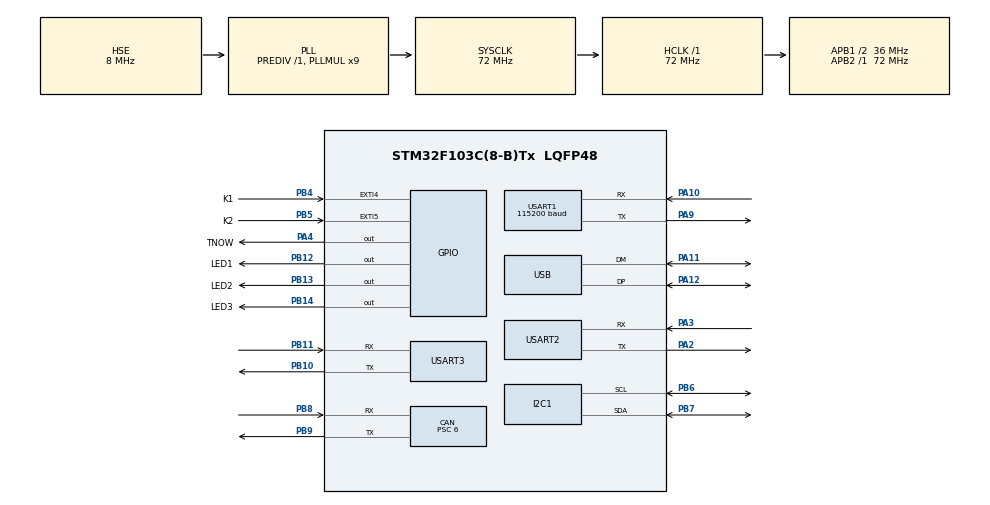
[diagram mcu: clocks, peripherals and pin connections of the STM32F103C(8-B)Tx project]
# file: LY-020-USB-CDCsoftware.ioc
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CAN.BS1=CAN_BS1_8TQ
CAN.BS2=CAN_BS2_3TQ
CAN.CalculateBaudRate=499999
CAN.CalculateTimeBit=2000
CAN.CalculateTimeQuantum=166.66666666666669
CAN.Prescaler=6
Dma.Request0=USART1_RX
Dma.Request1=USART1_TX
Dma.USART1_RX.0.Direction=DMA_PERIPH_TO_MEMORY
Dma.USART1_RX.0.Instance=DMA1_Channel5
Dma.USART1_RX.0.MemDataAlignment=DMA_MDATAALIGN_BYTE
Dma.USART1_RX.0.MemInc=DMA_MINC_ENABLE
Dma.USART1_RX.0.Mode=DMA_CIRCULAR
Dma.USART1_RX.0.PeriphDataAlignment=DMA_PDATAALIGN_BYTE
Dma.USART1_RX.0.PeriphInc=DMA_PINC_DISABLE
Dma.USART1_RX.0.Priority=DMA_PRIORITY_VERY_HIGH
Dma.USART1_TX.1.Direction=DMA_MEMORY_TO_PERIPH
Dma.USART1_TX.1.Instance=DMA1_Channel4
Dma.USART1_TX.1.MemDataAlignment=DMA_MDATAALIGN_BYTE
Dma.USART1_TX.1.MemInc=DMA_MINC_ENABLE
Dma.USART1_TX.1.Mode=DMA_NORMAL
Dma.USART1_TX.1.PeriphDataAlignment=DMA_PDATAALIGN_BYTE
Dma.USART1_TX.1.PeriphInc=DMA_PINC_DISABLE
Dma.USART1_TX.1.Priority=DMA_PRIORITY_VERY_HIGH
FREERTOS.Tasks01=defaultTask,24,128,StartDefaultTask,Default,NULL,Dynamic,NULL,NULL
Mcu.Family=STM32F1
Mcu.Name=STM32F103C(8-B)Tx
Mcu.Package=LQFP48
NVIC.CAN1_RX1_IRQn=true\:5\:0\:false\:false\:true\:true\:true\:true\:true
NVIC.CAN1_SCE_IRQn=true\:5\:0\:false\:false\:true\:true\:true\:true\:true
NVIC.DMA1_Channel4_IRQn=true\:5\:0\:false\:false\:true\:true\:false\:true\:true
NVIC.DMA1_Channel5_IRQn=true\:5\:0\:false\:false\:true\:true\:false\:true\:true
NVIC.EXTI4_IRQn=true\:5\:0\:false\:false\:true\:true\:true\:true\:true
NVIC.EXTI9_5_IRQn=true\:5\:0\:false\:false\:true\:true\:true\:true\:true
NVIC.PriorityGroup=NVIC_PRIORITYGROUP_4
NVIC.RCC_IRQn=true\:5\:0\:false\:false\:true\:true\:true\:false\:true
NVIC.USART1_IRQn=true\:5\:0\:false\:false\:true\:true\:true\:true\:true
NVIC.USB_HP_CAN1_TX_IRQn=true\:5\:0\:false\:false\:true\:true\:true\:true\:true
NVIC.USB_LP_CAN1_RX0_IRQn=true\:5\:0\:false\:false\:true\:true\:false\:true\:true
PA10.Mode=Asynchronous
PA10.Signal=USART1_RX
PA11.Mode=Device
PA11.Signal=USB_DM
PA12.Mode=Device
PA12.Signal=USB_DP
PA13.Mode=Serial_Wire
PA13.Signal=SYS_JTMS-SWDIO
PA14.Mode=Serial_Wire
PA14.Signal=SYS_JTCK-SWCLK
PA2.Mode=Asynchronous
PA2.Signal=USART2_TX
PA3.Mode=Asynchronous
PA3.Signal=USART2_RX
PA4.GPIO_Label=TNOW
PA4.GPIO_Speed=GPIO_SPEED_FREQ_MEDIUM
PA4.Signal=GPIO_Output
PA9.Mode=Asynchronous
PA9.Signal=USART1_TX
PB10.Mode=Asynchronous
PB10.Signal=USART3_TX
PB11.Mode=Asynchronous
PB11.Signal=USART3_RX
PB12.GPIO_Label=LED1
PB12.Signal=GPIO_Output
PB13.GPIO_Label=LED2
PB13.Signal=GPIO_Output
PB14.GPIO_Label=LED3
PB14.Signal=GPIO_Output
PB4.GPIO_Label=K1
PB4.GPIO_ModeDefaultEXTI=GPIO_MODE_IT_FALLING
PB4.Signal=GPXTI4
PB5.GPIO_Label=K2
PB5.GPIO_ModeDefaultEXTI=GPIO_MODE_IT_FALLING
PB5.Signal=GPXTI5
PB6.Mode=I2C
PB6.Signal=I2C1_SCL
PB7.Mode=I2C
PB7.Signal=I2C1_SDA
PB8.Mode=CAN_Activate
PB8.Signal=CAN_RX
PB9.Mode=CAN_Activate
PB9.Signal=CAN_TX
PC14-OSC32_IN.Mode=LSE-External-Oscillator
PC14-OSC32_IN.Signal=RCC_OSC32_IN
PC15-OSC32_OUT.Mode=LSE-External-Oscillator
PC15-OSC32_OUT.Signal=RCC_OSC32_OUT
PD0-OSC_IN.Mode=HSE-External-Oscillator
PD0-OSC_IN.Signal=RCC_OSC_IN
PD1-OSC_OUT.Mode=HSE-External-Oscillator
PD1-OSC_OUT.Signal=RCC_OSC_OUT
ProjectManager.HeapSize=0x400
ProjectManager.StackSize=0x800
ProjectManager.TargetToolchain=MDK-ARM V5.32
RCC.AHBFreq_Value=72000000
RCC.APB1CLKDivider=RCC_HCLK_DIV2
RCC.APB1Freq_Value=36000000
RCC.APB1TimFreq_Value=72000000
RCC.APB2Freq_Value=72000000
RCC.APB2TimFreq_Value=72000000
RCC.HCLKFreq_Value=72000000
RCC.PLLMUL=RCC_PLL_MUL9
RCC.PLLSourceVirtual=RCC_PLLSOURCE_HSE
RCC.SYSCLKFreq_VALUE=72000000
RCC.SYSCLKSource=RCC_SYSCLKSOURCE_PLLCLK
RCC.USBFreq_Value=48000000
RCC.USBPrescaler=RCC_USBCLKSOURCE_PLL_DIV1_5
TIM1.AutoReloadPreload=TIM_AUTORELOAD_PRELOAD_ENABLE
TIM1.ClockDivision=TIM_CLOCKDIVISION_DIV1
TIM1.Period=1000-1
TIM1.Prescaler=72-1
TIM2.AutoReloadPreload=TIM_AUTORELOAD_PRELOAD_ENABLE
TIM2.Period=1000-1
TIM2.Prescaler=72-1
TIM3.AutoReloadPreload=TIM_AUTORELOAD_PRELOAD_ENABLE
TIM3.Period=1000-1
TIM3.Prescaler=72-1
TIM4.AutoReloadPreload=TIM_AUTORELOAD_PRELOAD_ENABLE
TIM4.Period=1000-1
TIM4.Prescaler=72-1
USART1.BaudRate=115200
USART1.VirtualMode=VM_ASYNC
USART2.VirtualMode=VM_ASYNC
USART3.VirtualMode=VM_ASYNC
USB_DEVICE.CLASS_NAME_FS=CDC
USB_DEVICE.USBD_SELF_POWERED=0
USB_DEVICE.VirtualMode=Cdc
USB_DEVICE.VirtualModeFS=Cdc_FS
VP_FREERTOS_VS_CMSIS_V2.Mode=CMSIS_V2
VP_TIM1_VS_ClockSourceINT.Mode=Internal
VP_TIM2_VS_ClockSourceINT.Mode=Internal
VP_TIM3_VS_ClockSourceINT.Mode=Internal
VP_TIM4_VS_ClockSourceINT.Mode=Internal
VP_USB_DEVICE_VS_USB_DEVICE_CDC_FS.Mode=CDC_FS
board=custom

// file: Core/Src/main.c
/* USER CODE BEGIN Header */
/**
  ******************************************************************************
  * @file           : main.c
  * @brief          : Main program body
  ******************************************************************************
  * @attention
  *
  * Copyright (c) 2025 STMicroelectronics.
  * All rights reserved.
  *
  * This software is licensed under terms that can be found in the LICENSE file
  * in the root directory of this software component.
  * If no LICENSE file comes with this software, it is provided AS-IS.
  *
  ******************************************************************************
  */
/* USER CODE END Header */
#include "main.h"
#include "cmsis_os.h"

/* USER CODE BEGIN Includes */
#include "stdio.h"

#include "OLED_IIC_Config.h"
#include "OLED_Function.h"
#include "OLED_Front.h"
#include "pc_serial.h"
#include "testTask.h"
#include "ZLA_Motor.h"
/* USER CODE END Includes */

CAN_HandleTypeDef hcan;

I2C_HandleTypeDef hi2c1;

TIM_HandleTypeDef htim1;
TIM_HandleTypeDef htim2;
TIM_HandleTypeDef htim3;
TIM_HandleTypeDef htim4;

UART_HandleTypeDef huart1;
UART_HandleTypeDef huart2;
UART_HandleTypeDef huart3;
DMA_HandleTypeDef hdma_usart1_rx;
DMA_HandleTypeDef hdma_usart1_tx;

/* Definitions for defaultTask */
osThreadId_t testTaskHandle;
const osThreadAttr_t testTask_attributes = {
  .name = "testTask",
  .stack_size = 512 * 4,
  .priority = (osPriority_t) osPriorityNormal,
};
/* USER CODE BEGIN PV */

CAN_TxHeaderTypeDef TxHeaderCAN;
CAN_RxHeaderTypeDef RxHeaderCAN;
uint8_t RxDataCAN[8];
uint8_t TxDataCAN[8];

uint8_t CAN_Rx_Flag=0;

// UART1 接收缓冲区
#define U1_RX_MAX_LEN 256
uint8_t u1_rx_buffer[U1_RX_MAX_LEN];

/* USER CODE END PV */

void SystemClock_Config(void);
static void MX_GPIO_Init(void);
static void MX_DMA_Init(void);
static void MX_USART1_UART_Init(void);
static void MX_I2C1_Init(void);
static void MX_USART2_UART_Init(void);
static void MX_USART3_UART_Init(void);
static void MX_CAN_Init(void);
static void MX_TIM1_Init(void);
static void MX_TIM2_Init(void);
static void MX_TIM3_Init(void);
static void MX_TIM4_Init(void);
void StartDefaultTask(void *argument);

/* USER CODE BEGIN PFP */
void can_filter_init(void);
void CAN_Test(void);
/* USER CODE END PFP */

/* USER CODE BEGIN 0 */

#ifdef __GNUC__
  #define PUTCHAR_PROTOTYPE int __io_putchar(int ch)
#else
  #define PUTCHAR_PROTOTYPE int fputc(int ch, FILE *f)
#endif

PUTCHAR_PROTOTYPE
{
  HAL_UART_Transmit(&huart1,(uint8_t *)&ch,1,0xFFFF); //������ʽ��ӡ,����1
  return ch;
}

/* USER CODE END 0 */

int main(void)
{

  /* MCU Configuration--------------------------------------------------------*/

  /* Reset of all peripherals, Initializes the Flash interface and the Systick. */
  HAL_Init();

  /* Configure the system clock */
  SystemClock_Config();

  /* Initialize all configured peripherals */
  MX_GPIO_Init();
  MX_DMA_Init();
  MX_USART1_UART_Init();
  MX_I2C1_Init();
  MX_USART2_UART_Init();
  MX_USART3_UART_Init();
  MX_CAN_Init();
  MX_TIM1_Init();
  MX_TIM2_Init();
  MX_TIM3_Init();
  MX_TIM4_Init();
  /* USER CODE BEGIN 2 */
  can_filter_init();
  PC_Init();
  // 开启 UART1 DMA 接收 + 空闲中断
  HAL_UARTEx_ReceiveToIdle_DMA(&huart1, u1_rx_buffer, U1_RX_MAX_LEN);
  __HAL_DMA_DISABLE_IT(&hdma_usart1_rx, DMA_IT_HT); // 禁用半传输中断，防止频繁进入
  /* USER CODE END 2 */

  /* Init scheduler */
  osKernelInitialize();

  /* Create the thread(s) */
  /* creation of defaultTask */
  /* USER CODE BEGIN RTOS_THREADS */
  /* add threads, ... */
  testTaskHandle = osThreadNew((osThreadFunc_t)test_task, NULL, &testTask_attributes);
  /* USER CODE END RTOS_THREADS */

  /* Start scheduler */
  osKernelStart();

  /* We should never get here as control is now taken by the scheduler */

  /* Infinite loop */
  while (1)
  {

  }
}

void SystemClock_Config(void)
{
  RCC_OscInitTypeDef RCC_OscInitStruct = {0};
  RCC_ClkInitTypeDef RCC_ClkInitStruct = {0};
  RCC_PeriphCLKInitTypeDef PeriphClkInit = {0};

  /** Initializes the RCC Oscillators according to the specified parameters
  * in the RCC_OscInitTypeDef structure.
  */
  RCC_OscInitStruct.OscillatorType = RCC_OSCILLATORTYPE_HSE;
  RCC_OscInitStruct.HSEState = RCC_HSE_ON;
  RCC_OscInitStruct.HSEPredivValue = RCC_HSE_PREDIV_DIV1;
  RCC_OscInitStruct.HSIState = RCC_HSI_ON;
  RCC_OscInitStruct.PLL.PLLState = RCC_PLL_ON;
  RCC_OscInitStruct.PLL.PLLSource = RCC_PLLSOURCE_HSE;
  RCC_OscInitStruct.PLL.PLLMUL = RCC_PLL_MUL9;
  if (HAL_RCC_OscConfig(&RCC_OscInitStruct) != HAL_OK)
  {
    Error_Handler();
  }

  /** Initializes the CPU, AHB and APB buses clocks
  */
  RCC_ClkInitStruct.ClockType = RCC_CLOCKTYPE_HCLK|RCC_CLOCKTYPE_SYSCLK
                              |RCC_CLOCKTYPE_PCLK1|RCC_CLOCKTYPE_PCLK2;
  RCC_ClkInitStruct.SYSCLKSource = RCC_SYSCLKSOURCE_PLLCLK;
  RCC_ClkInitStruct.AHBCLKDivider = RCC_SYSCLK_DIV1;
  RCC_ClkInitStruct.APB1CLKDivider = RCC_HCLK_DIV2;
  RCC_ClkInitStruct.APB2CLKDivider = RCC_HCLK_DIV1;

  if (HAL_RCC_ClockConfig(&RCC_ClkInitStruct, FLASH_LATENCY_2) != HAL_OK)
  {
    Error_Handler();
  }
  PeriphClkInit.PeriphClockSelection = RCC_PERIPHCLK_USB;
  PeriphClkInit.UsbClockSelection = RCC_USBCLKSOURCE_PLL_DIV1_5;
  if (HAL_RCCEx_PeriphCLKConfig(&PeriphClkInit) != HAL_OK)
  {
    Error_Handler();
  }
}

static void MX_CAN_Init(void)
{

  hcan.Instance = CAN1;
  hcan.Init.Prescaler = 6;
  hcan.Init.Mode = CAN_MODE_NORMAL;
  hcan.Init.SyncJumpWidth = CAN_SJW_1TQ;
  hcan.Init.TimeSeg1 = CAN_BS1_8TQ;
  hcan.Init.TimeSeg2 = CAN_BS2_3TQ;
  hcan.Init.TimeTriggeredMode = DISABLE;
  hcan.Init.AutoBusOff = DISABLE;
  hcan.Init.AutoWakeUp = DISABLE;
  hcan.Init.AutoRetransmission = DISABLE;
  hcan.Init.ReceiveFifoLocked = DISABLE;
  hcan.Init.TransmitFifoPriority = DISABLE;
  if (HAL_CAN_Init(&hcan) != HAL_OK)
  {
    Error_Handler();
  }

}

static void MX_I2C1_Init(void)
{

  hi2c1.Instance = I2C1;
  hi2c1.Init.ClockSpeed = 100000;
  hi2c1.Init.DutyCycle = I2C_DUTYCYCLE_2;
  hi2c1.Init.OwnAddress1 = 0;
  hi2c1.Init.AddressingMode = I2C_ADDRESSINGMODE_7BIT;
  hi2c1.Init.DualAddressMode = I2C_DUALADDRESS_DISABLE;
  hi2c1.Init.OwnAddress2 = 0;
  hi2c1.Init.GeneralCallMode = I2C_GENERALCALL_DISABLE;
  hi2c1.Init.NoStretchMode = I2C_NOSTRETCH_DISABLE;
  if (HAL_I2C_Init(&hi2c1) != HAL_OK)
  {
    Error_Handler();
  }

}

static void MX_TIM1_Init(void)
{

  TIM_ClockConfigTypeDef sClockSourceConfig = {0};
  TIM_MasterConfigTypeDef sMasterConfig = {0};

  htim1.Instance = TIM1;
  htim1.Init.Prescaler = 72-1;
  htim1.Init.CounterMode = TIM_COUNTERMODE_UP;
  htim1.Init.Period = 1000-1;
  htim1.Init.ClockDivision = TIM_CLOCKDIVISION_DIV1;
  htim1.Init.RepetitionCounter = 0;
  htim1.Init.AutoReloadPreload = TIM_AUTORELOAD_PRELOAD_ENABLE;
  if (HAL_TIM_Base_Init(&htim1) != HAL_OK)
  {
    Error_Handler();
  }
  sClockSourceConfig.ClockSource = TIM_CLOCKSOURCE_INTERNAL;
  if (HAL_TIM_ConfigClockSource(&htim1, &sClockSourceConfig) != HAL_OK)
  {
    Error_Handler();
  }
  sMasterConfig.MasterOutputTrigger = TIM_TRGO_RESET;
  sMasterConfig.MasterSlaveMode = TIM_MASTERSLAVEMODE_DISABLE;
  if (HAL_TIMEx_MasterConfigSynchronization(&htim1, &sMasterConfig) != HAL_OK)
  {
    Error_Handler();
  }

}

static void MX_TIM2_Init(void)
{

  TIM_ClockConfigTypeDef sClockSourceConfig = {0};
  TIM_MasterConfigTypeDef sMasterConfig = {0};

  htim2.Instance = TIM2;
  htim2.Init.Prescaler = 72-1;
  htim2.Init.CounterMode = TIM_COUNTERMODE_UP;
  htim2.Init.Period = 1000-1;
  htim2.Init.ClockDivision = TIM_CLOCKDIVISION_DIV1;
  htim2.Init.AutoReloadPreload = TIM_AUTORELOAD_PRELOAD_ENABLE;
  if (HAL_TIM_Base_Init(&htim2) != HAL_OK)
  {
    Error_Handler();
  }
  sClockSourceConfig.ClockSource = TIM_CLOCKSOURCE_INTERNAL;
  if (HAL_TIM_ConfigClockSource(&htim2, &sClockSourceConfig) != HAL_OK)
  {
    Error_Handler();
  }
  sMasterConfig.MasterOutputTrigger = TIM_TRGO_RESET;
  sMasterConfig.MasterSlaveMode = TIM_MASTERSLAVEMODE_DISABLE;
  if (HAL_TIMEx_MasterConfigSynchronization(&htim2, &sMasterConfig) != HAL_OK)
  {
    Error_Handler();
  }

}

static void MX_TIM3_Init(void)
{

  TIM_ClockConfigTypeDef sClockSourceConfig = {0};
  TIM_MasterConfigTypeDef sMasterConfig = {0};

  htim3.Instance = TIM3;
  htim3.Init.Prescaler = 72-1;
  htim3.Init.CounterMode = TIM_COUNTERMODE_UP;
  htim3.Init.Period = 1000-1;
  htim3.Init.ClockDivision = TIM_CLOCKDIVISION_DIV1;
  htim3.Init.AutoReloadPreload = TIM_AUTORELOAD_PRELOAD_ENABLE;
  if (HAL_TIM_Base_Init(&htim3) != HAL_OK)
  {
    Error_Handler();
  }
  sClockSourceConfig.ClockSource = TIM_CLOCKSOURCE_INTERNAL;
  if (HAL_TIM_ConfigClockSource(&htim3, &sClockSourceConfig) != HAL_OK)
  {
    Error_Handler();
  }
  sMasterConfig.MasterOutputTrigger = TIM_TRGO_RESET;
  sMasterConfig.MasterSlaveMode = TIM_MASTERSLAVEMODE_DISABLE;
  if (HAL_TIMEx_MasterConfigSynchronization(&htim3, &sMasterConfig) != HAL_OK)
  {
    Error_Handler();
  }

}

static void MX_TIM4_Init(void)
{

  TIM_ClockConfigTypeDef sClockSourceConfig = {0};
  TIM_MasterConfigTypeDef sMasterConfig = {0};

  htim4.Instance = TIM4;
  htim4.Init.Prescaler = 72-1;
  htim4.Init.CounterMode = TIM_COUNTERMODE_UP;
  htim4.Init.Period = 1000-1;
  htim4.Init.ClockDivision = TIM_CLOCKDIVISION_DIV1;
  htim4.Init.AutoReloadPreload = TIM_AUTORELOAD_PRELOAD_ENABLE;
  if (HAL_TIM_Base_Init(&htim4) != HAL_OK)
  {
    Error_Handler();
  }
  sClockSourceConfig.ClockSource = TIM_CLOCKSOURCE_INTERNAL;
  if (HAL_TIM_ConfigClockSource(&htim4, &sClockSourceConfig) != HAL_OK)
  {
    Error_Handler();
  }
  sMasterConfig.MasterOutputTrigger = TIM_TRGO_RESET;
  sMasterConfig.MasterSlaveMode = TIM_MASTERSLAVEMODE_DISABLE;
  if (HAL_TIMEx_MasterConfigSynchronization(&htim4, &sMasterConfig) != HAL_OK)
  {
    Error_Handler();
  }

}

static void MX_USART1_UART_Init(void)
{

  huart1.Instance = USART1;
  huart1.Init.BaudRate = 115200;
  huart1.Init.WordLength = UART_WORDLENGTH_8B;
  huart1.Init.StopBits = UART_STOPBITS_1;
  huart1.Init.Parity = UART_PARITY_NONE;
  huart1.Init.Mode = UART_MODE_TX_RX;
  huart1.Init.HwFlowCtl = UART_HWCONTROL_NONE;
  huart1.Init.OverSampling = UART_OVERSAMPLING_16;
  if (HAL_UART_Init(&huart1) != HAL_OK)
  {
    Error_Handler();
  }

}

static void MX_USART2_UART_Init(void)
{

  huart2.Instance = USART2;
  huart2.Init.BaudRate = 115200;
  huart2.Init.WordLength = UART_WORDLENGTH_8B;
  huart2.Init.StopBits = UART_STOPBITS_1;
  huart2.Init.Parity = UART_PARITY_NONE;
  huart2.Init.Mode = UART_MODE_TX_RX;
  huart2.Init.HwFlowCtl = UART_HWCONTROL_NONE;
  huart2.Init.OverSampling = UART_OVERSAMPLING_16;
  if (HAL_UART_Init(&huart2) != HAL_OK)
  {
    Error_Handler();
  }

}

static void MX_USART3_UART_Init(void)
{

  huart3.Instance = USART3;
  huart3.Init.BaudRate = 115200;
  huart3.Init.WordLength = UART_WORDLENGTH_8B;
  huart3.Init.StopBits = UART_STOPBITS_1;
  huart3.Init.Parity = UART_PARITY_NONE;
  huart3.Init.Mode = UART_MODE_TX_RX;
  huart3.Init.HwFlowCtl = UART_HWCONTROL_NONE;
  huart3.Init.OverSampling = UART_OVERSAMPLING_16;
  if (HAL_UART_Init(&huart3) != HAL_OK)
  {
    Error_Handler();
  }

}

static void MX_DMA_Init(void)
{

  /* DMA controller clock enable */
  __HAL_RCC_DMA1_CLK_ENABLE();

  /* DMA interrupt init */
  /* DMA1_Channel4_IRQn interrupt configuration */
  HAL_NVIC_SetPriority(DMA1_Channel4_IRQn, 5, 0);
  HAL_NVIC_EnableIRQ(DMA1_Channel4_IRQn);
  /* DMA1_Channel5_IRQn interrupt configuration */
  HAL_NVIC_SetPriority(DMA1_Channel5_IRQn, 5, 0);
  HAL_NVIC_EnableIRQ(DMA1_Channel5_IRQn);

}

static void MX_GPIO_Init(void)
{
  GPIO_InitTypeDef GPIO_InitStruct = {0};

  /* GPIO Ports Clock Enable */
  __HAL_RCC_GPIOC_CLK_ENABLE();
  __HAL_RCC_GPIOD_CLK_ENABLE();
  __HAL_RCC_GPIOA_CLK_ENABLE();
  __HAL_RCC_GPIOB_CLK_ENABLE();

  /*Configure GPIO pin Output Level */
  HAL_GPIO_WritePin(TNOW_GPIO_Port, TNOW_Pin, GPIO_PIN_RESET);

  /*Configure GPIO pin Output Level */
  HAL_GPIO_WritePin(GPIOB, LED1_Pin|LED2_Pin|LED3_Pin, GPIO_PIN_RESET);

  /*Configure GPIO pin : TNOW_Pin */
  GPIO_InitStruct.Pin = TNOW_Pin;
  GPIO_InitStruct.Mode = GPIO_MODE_OUTPUT_PP;
  GPIO_InitStruct.Pull = GPIO_NOPULL;
  GPIO_InitStruct.Speed = GPIO_SPEED_FREQ_MEDIUM;
  HAL_GPIO_Init(TNOW_GPIO_Port, &GPIO_InitStruct);

  /*Configure GPIO pins : LED1_Pin LED2_Pin LED3_Pin */
  GPIO_InitStruct.Pin = LED1_Pin|LED2_Pin|LED3_Pin;
  GPIO_InitStruct.Mode = GPIO_MODE_OUTPUT_PP;
  GPIO_InitStruct.Pull = GPIO_NOPULL;
  GPIO_InitStruct.Speed = GPIO_SPEED_FREQ_LOW;
  HAL_GPIO_Init(GPIOB, &GPIO_InitStruct);

  /*Configure GPIO pins : K1_Pin K2_Pin */
  GPIO_InitStruct.Pin = K1_Pin|K2_Pin;
  GPIO_InitStruct.Mode = GPIO_MODE_IT_FALLING;
  GPIO_InitStruct.Pull = GPIO_NOPULL;
  HAL_GPIO_Init(GPIOB, &GPIO_InitStruct);

  /* EXTI interrupt init*/
  HAL_NVIC_SetPriority(EXTI4_IRQn, 5, 0);
  HAL_NVIC_EnableIRQ(EXTI4_IRQn);

  HAL_NVIC_SetPriority(EXTI9_5_IRQn, 5, 0);
  HAL_NVIC_EnableIRQ(EXTI9_5_IRQn);

}

/* USER CODE BEGIN 4 */

void can_filter_init(void)
{
    CAN_FilterTypeDef can_filter_st;

    // ---------------------------------------------------------
    // FIFO 0 配置: 针对 ID 0x581, 0x701, 0x181, 0x182 (如需)
    // ---------------------------------------------------------
    can_filter_st.FilterBank = 0;
    can_filter_st.FilterActivation = ENABLE;
    can_filter_st.FilterMode = CAN_FILTERMODE_IDLIST;
    can_filter_st.FilterScale = CAN_FILTERSCALE_16BIT;

    // 手册要求：标准帧ID需要左移5位对齐到高11位
    can_filter_st.FilterIdHigh = 0x581 << 5;
    can_filter_st.FilterIdLow  = 0x701 << 5;
    can_filter_st.FilterMaskIdHigh = 0x181 << 5;
    can_filter_st.FilterMaskIdLow  = 0x182 << 5;

    can_filter_st.FilterFIFOAssignment = CAN_RX_FIFO0;
    can_filter_st.SlaveStartFilterBank = 14;
    HAL_CAN_ConfigFilter(&hcan, &can_filter_st);

    // ---------------------------------------------------------
    // FIFO 1 配置: 针对 ID 0x582, 0x702
    // ---------------------------------------------------------
    can_filter_st.FilterBank = 1; // 使用 Bank 1
    can_filter_st.FilterActivation = ENABLE;
    can_filter_st.FilterMode = CAN_FILTERMODE_IDLIST;
    can_filter_st.FilterScale = CAN_FILTERSCALE_16BIT;

    can_filter_st.FilterIdHigh = 0x582 << 5;
    can_filter_st.FilterIdLow  = 0x702 << 5;
    can_filter_st.FilterMaskIdHigh = 0x0000;
    can_filter_st.FilterMaskIdLow  = 0x0000;

    can_filter_st.FilterFIFOAssignment = CAN_RX_FIFO1; // 关键：指向 FIFO1
    can_filter_st.SlaveStartFilterBank = 14;
    HAL_CAN_ConfigFilter(&hcan, &can_filter_st);

    // ---------------------------------------------------------
    // 启动与中断使能
    // ---------------------------------------------------------
    HAL_CAN_Start(&hcan);

    HAL_CAN_ActivateNotification(&hcan, CAN_IT_RX_FIFO0_MSG_PENDING);
    HAL_CAN_ActivateNotification(&hcan, CAN_IT_RX_FIFO1_MSG_PENDING);
}

void HAL_CAN_RxFifo0MsgPendingCallback(CAN_HandleTypeDef *hcan_instance)
{
    CAN_RxHeaderTypeDef rx_header;
    uint8_t rx_data[8];

    // 获取消息
    HAL_CAN_GetRxMessage(hcan_instance, CAN_RX_FIFO0, &rx_header, rx_data);

    // 只有一个 CAN，直接处理
    if (hcan_instance->Instance == CAN1)
    {
        extern ZLA_Motor front_drive; // 引用 test_task.c 中的定义
        extern ZLA_Motor rear_drive;
        ZLA_Motor_ProcessRx(&rx_header, rx_data, &front_drive);
        ZLA_Motor_ProcessRx(&rx_header, rx_data, &rear_drive);
    }
}

void HAL_CAN_RxFifo1MsgPendingCallback(CAN_HandleTypeDef *hcan_instance)
{
    CAN_RxHeaderTypeDef rx_header;
    uint8_t rx_data[8];

    HAL_CAN_GetRxMessage(hcan_instance, CAN_RX_FIFO1, &rx_header, rx_data);

    if (hcan_instance->Instance == CAN1)
    {
        extern ZLA_Motor front_drive;
        extern ZLA_Motor rear_drive;
        ZLA_Motor_ProcessRx(&rx_header, rx_data, &front_drive);
        ZLA_Motor_ProcessRx(&rx_header, rx_data, &rear_drive);
		}
}

void HAL_GPIO_EXTI_Callback(uint16_t GPIO_Pin)
{
    if (GPIO_Pin == K1_Pin)
    {
        if (HAL_GPIO_ReadPin(K1_GPIO_Port, K1_Pin) == GPIO_PIN_RESET)
        {
        	HAL_GPIO_TogglePin(LED3_GPIO_Port, LED3_Pin);
            //printf("KEY1 trigger \r\n");
        	HAL_UART_Transmit(&huart1,"KEY1 trigger \r\n",strlen("KEY1 trigger \r\n"),0xFFFF);
        }
    }

    if (GPIO_Pin == K2_Pin) {
          //  HAL_Delay(10);
            if (HAL_GPIO_ReadPin(K2_GPIO_Port, K2_Pin) == GPIO_PIN_RESET)
            {
            	HAL_GPIO_TogglePin(LED2_GPIO_Port, LED2_Pin);
                //printf("KEY2 trigger\r\n");
                HAL_UART_Transmit(&huart1,"KEY2 trigger \r\n",strlen("KEY2 trigger \r\n"),0xFFFF);
            }
        }

}
void CAN_Test(void)
{
    // 发送数据CAN
    TxHeaderCAN.ExtId = 0x00;
    TxHeaderCAN.DLC = 8;
    TxHeaderCAN.IDE = CAN_ID_STD;
    TxHeaderCAN.RTR = CAN_RTR_DATA;
    TxHeaderCAN.StdId = 0x00;
    TxHeaderCAN.TransmitGlobalTime = DISABLE;

    uint32_t TxMailBox;

    for(int i = 0; i < 8; ++i) {
        TxDataCAN[i] = i;
    }

    HAL_CAN_AddTxMessage(&hcan, &TxHeaderCAN, TxDataCAN, &TxMailBox);

}

// 接收到空闲中断事件回调（DMA接收完成或空闲超时）
void HAL_UARTEx_RxEventCallback(UART_HandleTypeDef *huart, uint16_t Size)
{
    if (huart->Instance == USART1)
    {
        // Size 是本次 DMA 传输累计接收到的数据长度
        // 传递给解析函数
        PC_ProcessReceived(u1_rx_buffer, Size);

        // 重新开启 DMA 接收（循环模式下其实会自动继续，但在 ReceiveToIdle 模式下通常需要重新 Arm）
        // 如果是 Normal 模式，必须重新开始。如果是 Circular 模式，ReceiveToIdleAPI 也会触发。
        // 为了稳健，我们再次调用以确保接收下一帧，并重置缓冲区指针
        HAL_UARTEx_ReceiveToIdle_DMA(&huart1, u1_rx_buffer, U1_RX_MAX_LEN);
        __HAL_DMA_DISABLE_IT(&hdma_usart1_rx, DMA_IT_HT);
    }
}

/* USER CODE END 4 */

void StartDefaultTask(void *argument)
{
  /* init code for USB_DEVICE */
  /* USER CODE BEGIN 5 */
  /* Infinite loop */
  for(;;)
  {
    CAN_Test();
    osDelay(1);
  }
  /* USER CODE END 5 */
}

void Error_Handler(void)
{
  __disable_irq();
  while (1)
  {
  }
}
